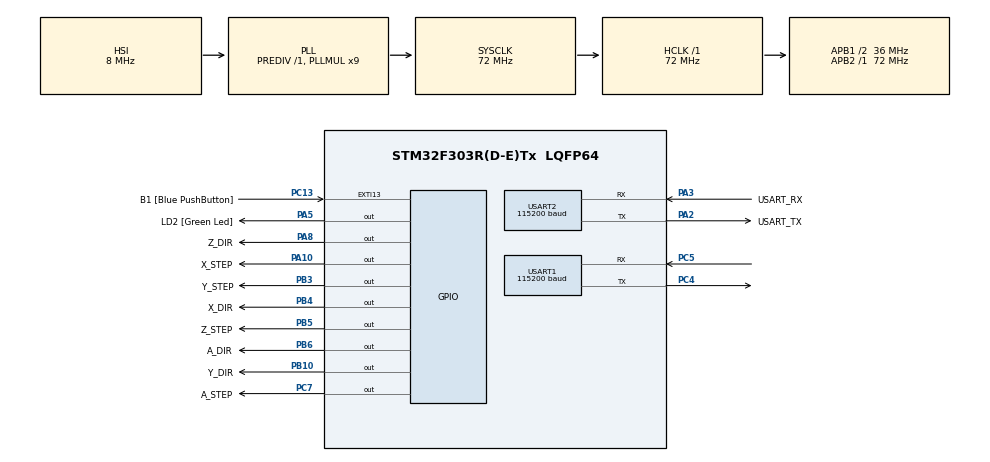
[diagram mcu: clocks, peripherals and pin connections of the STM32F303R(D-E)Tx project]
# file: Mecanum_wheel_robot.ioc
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Mcu.Family=STM32F3
Mcu.Name=STM32F303R(D-E)Tx
Mcu.Package=LQFP64
NVIC.PriorityGroup=NVIC_PRIORITYGROUP_0
NVIC.TIM2_IRQn=true\:0\:0\:false\:false\:true\:true\:true
NVIC.TIM3_IRQn=true\:0\:0\:false\:false\:true\:true\:true
NVIC.TIM4_IRQn=true\:0\:0\:false\:false\:true\:true\:true
NVIC.TIM8_UP_IRQn=true\:0\:0\:false\:false\:true\:true\:true
NVIC.USART1_IRQn=true\:0\:0\:false\:false\:true\:true\:true
NVIC.USART2_IRQn=true\:0\:0\:false\:false\:true\:true\:true
PA10.GPIO_Label=X_STEP
PA10.Signal=GPIO_Output
PA13.GPIO_Label=TMS
PA13.Mode=Serial_Wire
PA13.Signal=SYS_JTMS-SWDIO
PA14.GPIO_Label=TCK
PA14.Mode=Serial_Wire
PA14.Signal=SYS_JTCK-SWCLK
PA2.GPIO_Label=USART_TX
PA2.GPIO_Mode=GPIO_MODE_AF_PP
PA2.GPIO_PuPd=GPIO_NOPULL
PA2.GPIO_Speed=GPIO_SPEED_FREQ_LOW
PA2.Mode=Asynchronous
PA2.Signal=USART2_TX
PA3.GPIO_Label=USART_RX
PA3.GPIO_Mode=GPIO_MODE_AF_PP
PA3.GPIO_PuPd=GPIO_NOPULL
PA3.GPIO_Speed=GPIO_SPEED_FREQ_LOW
PA3.Mode=Asynchronous
PA3.Signal=USART2_RX
PA5.GPIO_Label=LD2 [Green Led]
PA5.GPIO_Mode=GPIO_MODE_OUTPUT_PP
PA5.GPIO_PuPd=GPIO_NOPULL
PA5.GPIO_Speed=GPIO_SPEED_FREQ_LOW
PA5.Signal=GPIO_Output
PA8.GPIO_Label=Z_DIR
PA8.Signal=GPIO_Output
PB10.GPIO_Label=Y_DIR
PB10.Signal=GPIO_Output
PB3.GPIO_Label=Y_STEP
PB3.Signal=GPIO_Output
PB4.GPIO_Label=X_DIR
PB4.Signal=GPIO_Output
PB5.GPIO_Label=Z_STEP
PB5.Signal=GPIO_Output
PB6.GPIO_Label=A_DIR
PB6.Signal=GPIO_Output
PC13.GPIO_Label=B1 [Blue PushButton]
PC13.GPIO_ModeDefaultEXTI=GPIO_MODE_IT_FALLING
PC13.Signal=GPXTI13
PC14-OSC32_IN.Mode=LSE-External-Oscillator
PC14-OSC32_IN.Signal=RCC_OSC32_IN
PC15-OSC32_OUT.Mode=LSE-External-Oscillator
PC15-OSC32_OUT.Signal=RCC_OSC32_OUT
PC4.Mode=Asynchronous
PC4.Signal=USART1_TX
PC5.Mode=Asynchronous
PC5.Signal=USART1_RX
PC7.GPIO_Label=A_STEP
PC7.Signal=GPIO_Output
PF0-OSC_IN.Mode=HSE-External-Clock-Source
PF0-OSC_IN.Signal=RCC_OSC_IN
PF1-OSC_OUT.Signal=RCC_OSC_OUT
ProjectManager.HeapSize=0x200
ProjectManager.StackSize=0x400
ProjectManager.TargetToolchain=STM32CubeIDE
RCC.AHBFreq_Value=72000000
RCC.APB1CLKDivider=RCC_HCLK_DIV2
RCC.APB1Freq_Value=36000000
RCC.APB1TimFreq_Value=72000000
RCC.APB2Freq_Value=72000000
RCC.APB2TimFreq_Value=72000000
RCC.CortexFreq_Value=72000000
RCC.HCLKFreq_Value=72000000
RCC.HSE_VALUE=8000000
RCC.HSI_VALUE=8000000
RCC.PLLM=8
RCC.PLLMUL=RCC_PLL_MUL9
RCC.PLLN=336
RCC.PLLP=RCC_PLLP_DIV4
RCC.PLLQ=7
RCC.RCC_PLLsource_Clock_Source_FROM_HSE=RCC_HSE_PREDIV_DIV2
RCC.SYSCLKFreq_VALUE=72000000
RCC.SYSCLKSourceVirtual=RCC_SYSCLKSOURCE_PLLCLK
RCC.USBFreq_Value=72000000
TIM2.AutoReloadPreload=TIM_AUTORELOAD_PRELOAD_ENABLE
TIM2.Period=9999
TIM2.Prescaler=3599
TIM3.AutoReloadPreload=TIM_AUTORELOAD_PRELOAD_ENABLE
TIM3.Period=9999
TIM3.Prescaler=3599
TIM4.AutoReloadPreload=TIM_AUTORELOAD_PRELOAD_ENABLE
TIM4.Period=9999
TIM4.Prescaler=3599
TIM8.AutoReloadPreload=TIM_AUTORELOAD_PRELOAD_ENABLE
TIM8.Period=9999
TIM8.Prescaler=3599
USART1.BaudRate=115200
USART1.VirtualMode-Asynchronous=VM_ASYNC
USART2.BaudRate=115200
USART2.VirtualMode-Asynchronous=VM_ASYNC
VP_TIM2_VS_ClockSourceINT.Mode=Internal
VP_TIM3_VS_ClockSourceINT.Mode=Internal
VP_TIM4_VS_ClockSourceINT.Mode=Internal
VP_TIM8_VS_ClockSourceINT.Mode=Internal
board=NUCLEO-F303RE

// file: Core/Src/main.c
/* USER CODE BEGIN Header */
/**
  ******************************************************************************
  * @file           : main.c
  * @brief          : Main program body
  ******************************************************************************
  * @attention
  *
  * <h2><center>&copy; Copyright (c) 2020 STMicroelectronics.
  * All rights reserved.</center></h2>
  *
  * This software component is licensed by ST under BSD 3-Clause license,
  * the "License"; You may not use this file except in compliance with the
  * License. You may obtain a copy of the License at:
  *                        opensource.org/licenses/BSD-3-Clause
  *
  ******************************************************************************
  */
/* USER CODE END Header */

#include "main.h"
#include "tim.h"
#include "usart.h"
#include "gpio.h"

/* USER CODE BEGIN Includes */
#include <stdio.h>
#include <stdlib.h>
/* USER CODE END Includes */

/* USER CODE BEGIN PD */
#define L 0.2
#define D 0.2
#define SPEED 150
#define MAX 65535
/* USER CODE END PD */

void SystemClock_Config(void);

int main(void)
{

  /* MCU Configuration--------------------------------------------------------*/

  /* Reset of all peripherals, Initializes the Flash interface and the Systick. */
  HAL_Init();

  /* Configure the system clock */
  SystemClock_Config();

  /* Initialize all configured peripherals */
  MX_GPIO_Init();
  MX_USART2_UART_Init();
  MX_TIM2_Init();
  MX_TIM3_Init();
  MX_TIM4_Init();
  MX_TIM8_Init();
  MX_USART1_UART_Init();
  /* USER CODE BEGIN 2 */
//  HAL_UART_Receive_IT(&huart2, &incoming_byte, 1);
  HAL_UART_Receive_IT(&huart1, &incoming_byte, 1);
  HAL_TIM_Base_Start_IT(&htim2);
  HAL_TIM_Base_Start_IT(&htim3);
  HAL_TIM_Base_Start_IT(&htim4);
  HAL_TIM_Base_Start_IT(&htim8);
  /* USER CODE END 2 */

  /* Infinite loop */
  /* USER CODE BEGIN WHILE */
  while (1)
  {
	  printf("goal position x = %d, y = %d, fi = %d\n", goal_pos[0], goal_pos[1], goal_pos[2]);
	  control_loop();
	  HAL_Delay(100);
    /* USER CODE END WHILE */

  }
}

void SystemClock_Config(void)
{
  RCC_OscInitTypeDef RCC_OscInitStruct = {0};
  RCC_ClkInitTypeDef RCC_ClkInitStruct = {0};
  RCC_PeriphCLKInitTypeDef PeriphClkInit = {0};

  /** Initializes the CPU, AHB and APB busses clocks
  */
  RCC_OscInitStruct.OscillatorType = RCC_OSCILLATORTYPE_HSI;
  RCC_OscInitStruct.HSIState = RCC_HSI_ON;
  RCC_OscInitStruct.HSICalibrationValue = RCC_HSICALIBRATION_DEFAULT;
  RCC_OscInitStruct.PLL.PLLState = RCC_PLL_ON;
  RCC_OscInitStruct.PLL.PLLSource = RCC_PLLSOURCE_HSI;
  RCC_OscInitStruct.PLL.PLLMUL = RCC_PLL_MUL9;
  RCC_OscInitStruct.PLL.PREDIV = RCC_PREDIV_DIV1;
  if (HAL_RCC_OscConfig(&RCC_OscInitStruct) != HAL_OK)
  {
    Error_Handler();
  }
  /** Initializes the CPU, AHB and APB busses clocks
  */
  RCC_ClkInitStruct.ClockType = RCC_CLOCKTYPE_HCLK|RCC_CLOCKTYPE_SYSCLK
                              |RCC_CLOCKTYPE_PCLK1|RCC_CLOCKTYPE_PCLK2;
  RCC_ClkInitStruct.SYSCLKSource = RCC_SYSCLKSOURCE_PLLCLK;
  RCC_ClkInitStruct.AHBCLKDivider = RCC_SYSCLK_DIV1;
  RCC_ClkInitStruct.APB1CLKDivider = RCC_HCLK_DIV2;
  RCC_ClkInitStruct.APB2CLKDivider = RCC_HCLK_DIV1;

  if (HAL_RCC_ClockConfig(&RCC_ClkInitStruct, FLASH_LATENCY_2) != HAL_OK)
  {
    Error_Handler();
  }
  PeriphClkInit.PeriphClockSelection = RCC_PERIPHCLK_USART1|RCC_PERIPHCLK_USART2
                              |RCC_PERIPHCLK_TIM8|RCC_PERIPHCLK_TIM2
                              |RCC_PERIPHCLK_TIM34;
  PeriphClkInit.Usart1ClockSelection = RCC_USART1CLKSOURCE_PCLK2;
  PeriphClkInit.Usart2ClockSelection = RCC_USART2CLKSOURCE_PCLK1;
  PeriphClkInit.Tim8ClockSelection = RCC_TIM8CLK_HCLK;
  PeriphClkInit.Tim2ClockSelection = RCC_TIM2CLK_HCLK;
  PeriphClkInit.Tim34ClockSelection = RCC_TIM34CLK_HCLK;
  if (HAL_RCCEx_PeriphCLKConfig(&PeriphClkInit) != HAL_OK)
  {
    Error_Handler();
  }
}

/* USER CODE BEGIN 4 */
void control_loop()
{
	// calculate speed for each wheel
	x_vel = goal_pos[0] - 100;
	y_vel = goal_pos[1] - 100;
	fi_vel = goal_pos[2] - 100;
	vx = (x_vel - y_vel - (L + D)*fi_vel)*SPEED; //forward left v1
	vy = (x_vel + y_vel - (L + D)*fi_vel)*SPEED; //back left v2
	va = (x_vel - y_vel + (L + D)*fi_vel)*SPEED; //back right v3
	vz = (x_vel + y_vel + (L + D)*fi_vel)*SPEED; //forward right v4
	// set direction for each wheel
	if(vx < 0)
		HAL_GPIO_WritePin(X_DIR_GPIO_Port, X_DIR_Pin, GPIO_PIN_RESET);
	else
		HAL_GPIO_WritePin(X_DIR_GPIO_Port, X_DIR_Pin, GPIO_PIN_SET);
	if(vy < 0)
		HAL_GPIO_WritePin(Y_DIR_GPIO_Port, Y_DIR_Pin, GPIO_PIN_RESET);
	else
		HAL_GPIO_WritePin(Y_DIR_GPIO_Port, Y_DIR_Pin, GPIO_PIN_SET);
	if(vz > 0)
		HAL_GPIO_WritePin(Z_DIR_GPIO_Port, Z_DIR_Pin, GPIO_PIN_RESET);
	else
		HAL_GPIO_WritePin(Z_DIR_GPIO_Port, Z_DIR_Pin, GPIO_PIN_SET);
	if(va > 0)
		HAL_GPIO_WritePin(A_DIR_GPIO_Port, A_DIR_Pin, GPIO_PIN_RESET);
	else
		HAL_GPIO_WritePin(A_DIR_GPIO_Port, A_DIR_Pin, GPIO_PIN_SET);
	// set interrupts
	if (vx != 0)
		TIM2->ARR = constraint(SystemCoreClock/(abs(vx)*(TIM2->PSC + 1)) - 1, 1, MAX);
	if (vy != 0)
		TIM3->ARR = constraint(SystemCoreClock/(abs(vy)*(TIM3->PSC + 1)) - 1, 1, MAX);
	if (vz != 0)
		TIM4->ARR = constraint(SystemCoreClock/(abs(vz)*(TIM4->PSC + 1)) - 1, 1, MAX);
	if (va != 0)
		TIM8->ARR = constraint(SystemCoreClock/(abs(va)*(TIM8->PSC + 1)) - 1, 1, MAX);

//	HAL_UART_Receive_IT(&huart2, &incoming_byte, 1);
	HAL_UART_Receive_IT(&huart1, &incoming_byte, 1);

}

int constraint(int32_t var, int bottom_lim, int upper_lim)
{
	if(var > upper_lim)
		return upper_lim;
	else if(var < bottom_lim)
		return bottom_lim;
	else
		return var;
}

/* USER CODE END 4 */

void Error_Handler(void)
{
}

/************************ (C) COPYRIGHT STMicroelectronics *****END OF FILE****/
